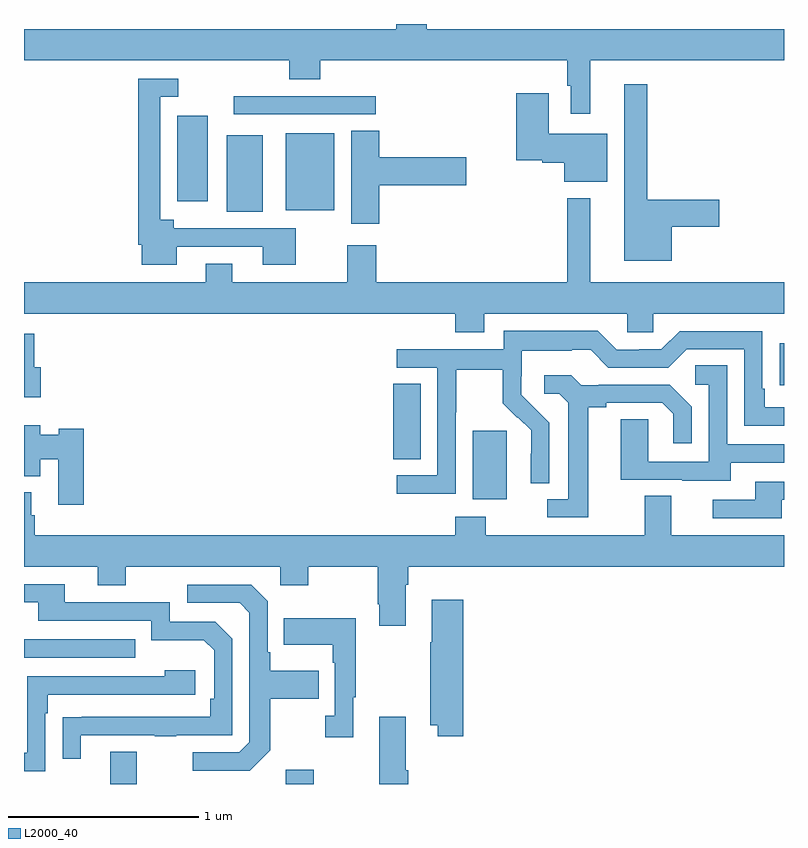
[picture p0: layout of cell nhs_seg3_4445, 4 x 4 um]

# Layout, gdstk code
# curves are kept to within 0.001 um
import gdstk
lib = gdstk.Library(unit=1e-6, precision=1e-09)
def R(c, l, rs):  # rectangles x0, y0, x1, y1
    for r in rs: c.add(gdstk.rectangle(r[:2], r[2:], *l))
def P(c, l, *ps):  # polygons
    for p in ps: c.add(gdstk.Polygon(p, *l))
L2000_40 = (2000, 40)

nhs_seg3_4445 = lib.new_cell('nhs_seg3_4445')
R(nhs_seg3_4445, L2000_40, [(347.453,738.4,347.593,738.571), (348.377,738.4,348.525,738.475), (347,739.065,347.585,739.161), (349.361,739.898,349.54,740.259), (348.944,740.11,349.087,740.507), (350.977,740.5,351,740.719), (348.068,741.413,348.256,741.814), (348.377,741.419,348.634,741.826), (347.807,741.468,347.968,741.916), (348.105,741.924,348.85,742.02)])
P(nhs_seg3_4445, L2000_40, [(349.981,742.208),(351,742.208),(351,742.372),(349.119,742.372),(349.119,742.4),(348.959,742.4),(348.959,742.372),(347,742.372),(347,742.208),(348.395,742.208),(348.395,742.109),(348.56,742.109),(348.56,742.208),(349.86,742.208),(349.86,742.076),(349.877,742.076),(349.877,741.927),(349.981,741.927)],
  [(347.803,741.228),(348.257,741.228),(348.257,741.134),(348.43,741.134),(348.43,741.324),(347.788,741.324),(347.788,741.37),(347.718,741.37),(347.718,742.017),(347.812,742.017),(347.812,742.113),(347.602,742.113),(347.602,741.238),(347.621,741.238),(347.621,741.134),(347.803,741.134)],
  [(350.41,741.334),(350.659,741.334),(350.659,741.476),(350.281,741.476),(350.281,742.084),(350.159,742.084),(350.159,741.155),(350.41,741.155)],
  [(350.071,741.823),(349.762,741.823),(349.762,742.036),(349.592,742.036),(349.592,741.683),(349.728,741.683),(349.728,741.671),(349.844,741.671),(349.844,741.569),(350.071,741.569)],
  [(348.869,741.551),(349.327,741.551),(349.327,741.698),(348.869,741.698),(348.869,741.839),(348.722,741.839),(348.722,741.348),(348.869,741.348)],
  [(349.271,740.777),(349.423,740.777),(349.423,740.876),(350.175,740.876),(350.175,740.778),(350.313,740.778),(350.313,740.876),(351,740.876),(351,741.04),(349.981,741.04),(349.981,741.484),(349.86,741.484),(349.86,741.04),(348.854,741.04),(348.854,741.235),(348.701,741.235),(348.701,741.04),(348.097,741.04),(348.097,741.139),(347.957,741.139),(347.957,741.04),(347,741.04),(347,740.876),(349.271,740.876)],
  [(349.272,740.356),(349.275,740.356),(349.275,740.58),(349.519,740.58),(349.519,740.405),(349.596,740.328),(349.599,740.331),(349.67,740.261),(349.67,740.138),(349.668,740.138),(349.668,739.984),(349.764,739.984),(349.764,740.302),(349.618,740.45),(349.618,740.547),(349.62,740.547),(349.62,740.681),(349.883,740.681),(349.883,740.685),(349.983,740.685),(350.076,740.592),(350.391,740.592),(350.487,740.688),(350.79,740.688),(350.79,740.286),(351,740.286),(351,740.382),(350.899,740.382),(350.899,740.479),(350.886,740.479),(350.886,740.784),(350.451,740.784),(350.355,740.688),(350.237,740.688),(350.237,740.685),(350.121,740.685),(350.021,740.785),(349.524,740.785),(349.524,740.688),(348.963,740.688),(348.963,740.592),(349.176,740.592),(349.176,740.025),(348.963,740.025),(348.963,739.927),(349.272,739.927)],
  [(347.089,740.593),(347.054,740.593),(347.054,740.77),(347,740.77),(347,740.435),(347.089,740.435)],
  [(350.719,740.091),(351,740.091),(351,740.187),(350.7,740.187),(350.7,740.603),(350.532,740.603),(350.532,740.502),(350.604,740.502),(350.604,740.097),(350.286,740.097),(350.286,740.321),(350.141,740.321),(350.141,740.001),(350.465,740.001),(350.465,739.997),(350.719,739.997)],
  [(349.969,740.384),(350.065,740.384),(350.065,740.406),(350.36,740.406),(350.417,740.349),(350.417,740.193),(350.514,740.193),(350.514,740.386),(350.398,740.502),(350.026,740.502),(350.026,740.499),(349.932,740.499),(349.88,740.551),(349.737,740.551),(349.737,740.454),(349.818,740.454),(349.865,740.407),(349.865,739.899),(349.755,739.899),(349.755,739.803),(349.969,739.803)],
  [(347.315,740.27),(347.184,740.27),(347.184,740.239),(347.086,740.239),(347.086,740.287),(347,740.287),(347,740.021),(347.086,740.021),(347.086,740.11),(347.18,740.11),(347.18,739.869),(347.315,739.869)],
  [(350.989,739.896),(351,739.896),(351,739.992),(350.849,739.992),(350.849,739.896),(350.625,739.896),(350.625,739.8),(350.989,739.8)],
  [(349.009,739.448),(349.022,739.448),(349.022,739.544),(351,739.544),(351,739.708),(350.407,739.708),(350.407,739.916),(350.267,739.916),(350.267,739.708),(349.431,739.708),(349.431,739.807),(349.271,739.807),(349.271,739.708),(347.057,739.708),(347.057,739.815),(347.038,739.815),(347.038,739.936),(347,739.936),(347,739.544),(347.387,739.544),(347.387,739.445),(347.535,739.445),(347.535,739.544),(348.348,739.544),(348.348,739.445),(348.495,739.445),(348.495,739.544),(348.862,739.544),(348.862,739.345),(348.869,739.345),(348.869,739.233),(349.009,739.233)],
  [(347.299,738.657),(347.689,738.657),(347.689,738.652),(347.801,738.652),(347.801,738.657),(348.096,738.657),(348.096,739.164),(348.006,739.254),(347.766,739.254),(347.766,739.356),(347.215,739.356),(347.215,739.452),(347,739.452),(347,739.356),(347.075,739.356),(347.075,739.26),(347.67,739.26),(347.67,739.157),(347.947,739.157),(348,739.104),(348,738.85),(347.98,738.85),(347.98,738.753),(347.203,738.752),(347.203,738.534),(347.299,738.534)],
  [(348.295,738.577),(348.295,738.85),(348.551,738.85),(348.551,738.997),(348.295,738.997),(348.295,739.093),(348.282,739.093),(348.282,739.362),(348.195,739.449),(347.859,739.449),(347.859,739.353),(348.135,739.353),(348.186,739.302),(348.186,738.621),(348.132,738.567),(347.889,738.567),(347.889,738.471),(348.189,738.471)],
  [(349.313,739.369),(349.145,739.369),(349.145,739.145),(349.138,739.145),(349.138,738.71),(349.178,738.71),(349.178,738.651),(349.313,738.651)],
  [(348.733,738.857),(348.745,738.857),(348.745,739.273),(348.367,739.273),(348.367,739.133),(348.624,739.133),(348.624,739.037),(348.636,739.037),(348.636,738.758),(348.585,738.758),(348.585,738.645),(348.733,738.645)],
  [(347.112,738.773),(347.125,738.773),(347.125,738.87),(347.902,738.87),(347.902,739),(347.741,739),(347.741,738.966),(347.016,738.966),(347.016,738.564),(347,738.564),(347,738.468),(347.112,738.468)],
  [(349.022,738.472),(349.009,738.472),(349.009,738.754),(348.869,738.754),(348.869,738.4),(349.022,738.4)])

lib.write_gds('nhs_seg3_4445.gds')
